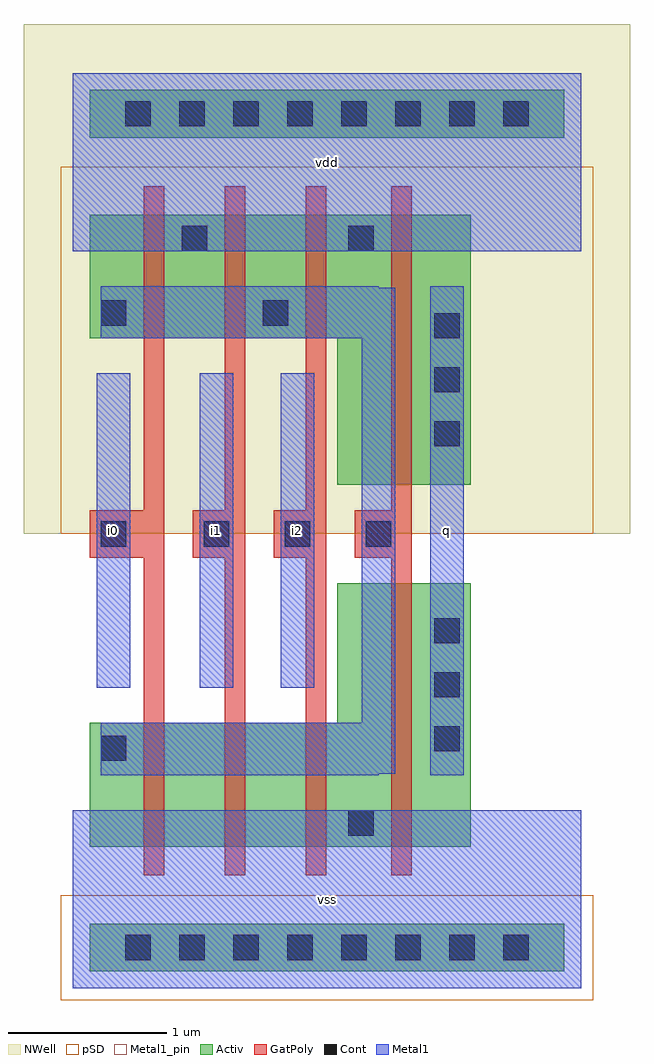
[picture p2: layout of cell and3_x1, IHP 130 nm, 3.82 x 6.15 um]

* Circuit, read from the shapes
.subckt and3_x1 i0 i1 i2 q vdd vss
XM1 n1 i0 n2 vss sg13_lv_nmos w=0.78u l=0.13u
XM2 n3 i1 n1 vss sg13_lv_nmos w=0.78u l=0.13u
XM3 vss i2 n3 vss sg13_lv_nmos w=0.78u l=0.13u
XM4 q n2 vss vss sg13_lv_nmos w=1.66u l=0.13u
XM5 vdd i0 n2 vdd sg13_lv_pmos w=0.78u l=0.13u
XM6 n2 i1 vdd vdd sg13_lv_pmos w=0.78u l=0.13u
XM7 vdd i2 n2 vdd sg13_lv_pmos w=0.78u l=0.13u
XM8 q n2 vdd vdd sg13_lv_pmos w=1.7u l=0.13u
.ends

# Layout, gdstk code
import gdstk
lib = gdstk.Library(unit=1e-6, precision=1e-09)
def R(c, l, rs):  # rectangles x0, y0, x1, y1
    for r in rs: c.add(gdstk.rectangle(r[:2], r[2:], *l))
def A(c, l, x, y, w, h, nx, ny, dx, dy):  # array of equal rectangles
    R(c, l, [(x+i*dx, y+j*dy, x+i*dx+w, y+j*dy+h) for i in range(nx) for j in range(ny)])
def P(c, l, *ps):  # polygons
    for p in ps: c.add(gdstk.Polygon(p, *l))
Activ = (1, 0)
GatPoly = (5, 0)
Cont = (6, 0)
Metal1 = (8, 0)
Metal1_pin = (8, 2)
pSD = (14, 0)
NWell = (31, 0)

and3_x1 = lib.new_cell('and3_x1')
R(and3_x1, Activ, [(0.105,0.105,3.095,0.405), (0.105,5.355,3.095,5.655)])
P(and3_x1, Activ, [(0.105,0.89),(0.105,1.67),(1.665,1.67),(1.665,2.55),(2.505,2.55),(2.505,0.89)],
  [(1.665,3.17),(1.665,4.09),(0.105,4.09),(0.105,4.87),(2.505,4.87),(2.505,3.17)])
P(and3_x1, GatPoly, [(2.005,0.71),(2.005,2.71),(1.775,2.71),(1.775,3.01),(2.005,3.01),(2.005,5.05),(2.135,5.05),(2.135,0.71)],
  [(0.445,0.71),(0.445,2.71),(0.105,2.71),(0.105,3.01),(0.445,3.01),(0.445,5.05),(0.575,5.05),(0.575,0.71)],
  [(0.955,0.71),(0.955,2.71),(0.755,2.71),(0.755,3.01),(0.955,3.01),(0.955,5.05),(1.085,5.05),(1.085,0.71)],
  [(1.465,0.71),(1.465,2.71),(1.265,2.71),(1.265,3.01),(1.465,3.01),(1.465,5.05),(1.595,5.05),(1.595,0.71)])
A(and3_x1, Cont, 0.33, 0.175, 0.16, 0.16, 8, 2, 0.34, 5.25)
A(and3_x1, Cont, 2.275, 1.49, 0.16, 0.16, 1, 3, 0, 0.34)
A(and3_x1, Cont, 0.825, 2.78, 0.16, 0.16, 3, 1, 0.51, 0)
A(and3_x1, Cont, 2.275, 3.41, 0.16, 0.16, 1, 3, 0, 0.34)
R(and3_x1, Cont, [(1.735,0.96,1.895,1.12), (0.175,1.43,0.335,1.59), (0.175,2.78,0.335,2.94), (0.175,4.17,0.335,4.33), (1.195,4.17,1.355,4.33), (0.685,4.64,0.845,4.8), (1.735,4.64,1.895,4.8)])
R(and3_x1, Metal1, [(0,0,3.2,1.12), (2.25,1.34,2.46,4.42), (0.15,1.89,0.36,3.87), (0.8,1.89,1.01,3.87), (1.31,1.89,1.52,3.87), (0,4.64,3.2,5.76)])
P(and3_x1, Metal1, [(0.175,1.34),(0.175,1.67),(1.82,1.67),(1.82,4.09),(0.175,4.09),(0.175,4.42),(1.925,4.42),(1.925,4.41),(2.03,4.41),(2.03,1.35),(1.925,1.35),(1.925,1.34)])
R(and3_x1, Metal1_pin, [(0,0,3.2,1.12), (2.25,1.34,2.46,4.42), (0.15,1.89,0.36,3.87), (0.8,1.89,1.01,3.87), (1.31,1.89,1.52,3.87), (0,4.64,3.2,5.76)])
R(and3_x1, pSD, [(-0.075,-0.075,3.275,0.585), (-0.075,2.86,3.275,5.17)])
R(and3_x1, NWell, [(-0.31,2.86,3.51,6.07)])
and3_x1.add(gdstk.Label('vdd', (1.6,5.2), layer=8, texttype=2))
and3_x1.add(gdstk.Label('vss', (1.6,0.56), layer=8, texttype=2))
and3_x1.add(gdstk.Label('i0', (0.255,2.88), layer=8, texttype=2))
and3_x1.add(gdstk.Label('i1', (0.905,2.88), layer=8, texttype=2))
and3_x1.add(gdstk.Label('i2', (1.415,2.88), layer=8, texttype=2))
and3_x1.add(gdstk.Label('q', (2.355,2.88), layer=8, texttype=2))

lib.write_gds('and3_x1.gds')
